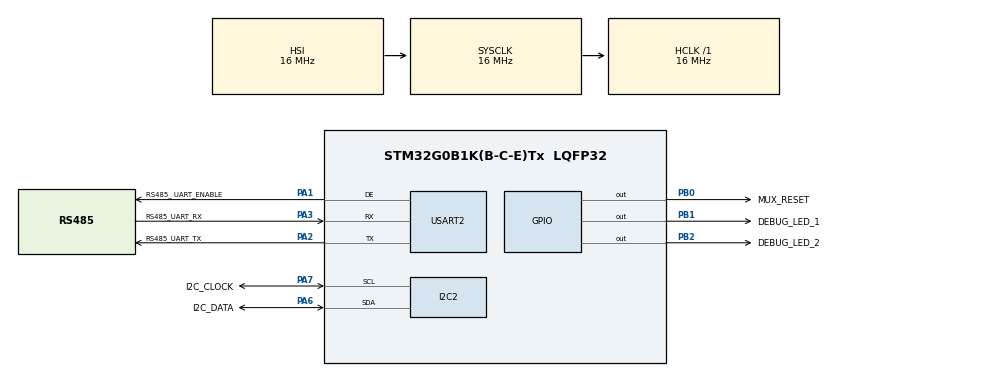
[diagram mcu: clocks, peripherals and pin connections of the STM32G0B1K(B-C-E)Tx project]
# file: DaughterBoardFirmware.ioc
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I2C2.Timing=0x00503D58
Mcu.Family=STM32G0
Mcu.Name=STM32G0B1K(B-C-E)Tx
Mcu.Package=LQFP32
NVIC.USART2_LPUART2_IRQn=true\:0\:0\:false\:false\:true\:true\:true\:true
PA1.GPIO_Label=RS485_ UART_ENABLE
PA1.Mode=Hardware Flow Control (RS485)
PA1.Signal=USART2_DE
PA13.Mode=Serial_Wire
PA13.Signal=SYS_SWDIO
PA14-BOOT0.Mode=Serial_Wire
PA14-BOOT0.Signal=SYS_SWCLK
PA2.GPIO_Label=RS485_UART_TX
PA2.Mode=Asynchronous
PA2.Signal=USART2_TX
PA3.GPIO_Label=RS485_UART_RX
PA3.Mode=Asynchronous
PA3.Signal=USART2_RX
PA6.GPIO_Label=I2C_DATA
PA6.Mode=I2C
PA6.Signal=I2C2_SDA
PA7.GPIO_Label=I2C_CLOCK
PA7.Mode=I2C
PA7.Signal=I2C2_SCL
PB0.GPIO_Label=MUX_RESET
PB0.PinState=GPIO_PIN_SET
PB0.Signal=GPIO_Output
PB1.GPIO_Label=DEBUG_LED_1
PB1.Signal=GPIO_Output
PB2.GPIO_Label=DEBUG_LED_2
PB2.Signal=GPIO_Output
ProjectManager.HeapSize=0x200
ProjectManager.StackSize=0x400
ProjectManager.TargetToolchain=CMake
RCC.AHBFreq_Value=16000000
RCC.CortexFreq_Value=16000000
RCC.EXTERNAL_CLOCK_VALUE=48000
RCC.HCLKFreq_Value=16000000
RCC.HSE_VALUE=8000000
RCC.HSI48_VALUE=48000000
RCC.HSI_VALUE=16000000
RCC.LSE_VALUE=32768
RCC.SYSCLKFreq_VALUE=16000000
RCC.USBFreq_Value=48000000
RCC.VCOOutputFreq_Value=128000000
USART2.VirtualMode-Asynchronous=VM_ASYNC
USART2.VirtualMode-Hardware\ Flow\ Control\ (RS485)=VM_ASYNC
VP_SYS_VS_DBSignals.Mode=DisableDeadBatterySignals
board=custom

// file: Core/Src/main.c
/* USER CODE BEGIN Header */
/**
  ******************************************************************************
  * @file           : main.c
  * @brief          : Main program body
  ******************************************************************************
  * @attention
  *
  * Copyright (c) 2026 STMicroelectronics.
  * All rights reserved.
  *
  * This software is licensed under terms that can be found in the LICENSE file
  * in the root directory of this software component.
  * If no LICENSE file comes with this software, it is provided AS-IS.
  *
  ******************************************************************************
  */
/* USER CODE END Header */
#include <stdbool.h>
#include <stdint.h>
#include "main.h"

/* USER CODE BEGIN Includes */
#include "Mux.h"
#include "RS485Parser.h"
/* USER CODE END Includes */

I2C_HandleTypeDef hi2c2;

UART_HandleTypeDef huart2;

/* USER CODE BEGIN PV */
RS485Parser parser;

static uint8_t uartRxByte;
static uint8_t rxBuffer[RX_BUFFER_SIZE];

static volatile uint8_t rxWriteIndex;
static volatile uint8_t rxReadIndex;
static volatile uint32_t rxDroppedBytes;

/* USER CODE END PV */

void SystemClock_Config(void);
static void MX_GPIO_Init(void);
static void MX_I2C2_Init(void);
static void MX_USART2_UART_Init(void);
/* USER CODE BEGIN PFP */
static void HandleRS485Packet(const RS485Packet *packet);

/* USER CODE END PFP */

/* USER CODE BEGIN 0 */
/* Integration point: add sensor command dispatch here. No sensor operations
 * or replies are performed until the board's sensor mapping is defined. */
static void HandleRS485Packet(const RS485Packet *packet)
{

  switch (packet->command){
    case RS485_READ:

    break;
    case RS485_RESET_START:

    break;
    case RS485_RESET_CONTINUE:

    break;
    case RS485_RESET_END:

    break;
    case RS485_REBOOT:

    break;
    case RS485_FAILURE:

    break;
  }
}

/* USER CODE END 0 */

int main(void)
{

  /* MCU Configuration--------------------------------------------------------*/

  /* Reset of all peripherals, Initializes the Flash interface and the Systick. */
  HAL_Init();

  /* Configure the system clock */
  SystemClock_Config();

  /* Initialize all configured peripherals */
  MX_GPIO_Init();
  MX_I2C2_Init();
  MX_USART2_UART_Init();
  /* USER CODE BEGIN 2 */

  initRS485Parser(&parser);

  // MUX
  if (MuxInit(&hi2c2) != HAL_OK) {
    Error_Handler();
  }

  // RS485 TRANSCIEVER
  if (HAL_RS485Ex_Init(&huart2, UART_DE_POLARITY_HIGH, 0, 0) != HAL_OK) {
    Error_Handler();
  }

  if (HAL_UART_Receive_IT(&huart2, &uartRxByte, 1) != HAL_OK) {
    Error_Handler();
  }

  /* USER CODE END 2 */

  /* Infinite loop */
  while (1)
  {
    /* USER CODE BEGIN 3 */
    /* A dropped byte invalidates both the partial frame and queued bytes. */
    static uint32_t handledDroppedBytes;
    if (handledDroppedBytes != rxDroppedBytes) {
      __disable_irq();
      rxReadIndex = rxWriteIndex;
      handledDroppedBytes = rxDroppedBytes;
      __enable_irq();
      resetRS485Parser(&parser);
      parser.state = PARSER_DISCARD;
    }

    while (rxReadIndex != rxWriteIndex) {
      uint8_t byte = rxBuffer[rxReadIndex];
      rxReadIndex = (uint8_t)((rxReadIndex + 1U) % RX_BUFFER_SIZE);
      timeoutRS485Parser(&parser, HAL_GetTick());
      if (feedRS485Parser(&parser, byte)) {
        HandleRS485Packet(&parser.packet);
      }
      parser.lastByteTime = HAL_GetTick();
    }
    timeoutRS485Parser(&parser, HAL_GetTick());
  }
  /* USER CODE END 3 */
}

void SystemClock_Config(void)
{
  RCC_OscInitTypeDef RCC_OscInitStruct = {0};
  RCC_ClkInitTypeDef RCC_ClkInitStruct = {0};

  /** Configure the main internal regulator output voltage
  */
  HAL_PWREx_ControlVoltageScaling(PWR_REGULATOR_VOLTAGE_SCALE1);

  /** Initializes the RCC Oscillators according to the specified parameters
  * in the RCC_OscInitTypeDef structure.
  */
  RCC_OscInitStruct.OscillatorType = RCC_OSCILLATORTYPE_HSI;
  RCC_OscInitStruct.HSIState = RCC_HSI_ON;
  RCC_OscInitStruct.HSIDiv = RCC_HSI_DIV1;
  RCC_OscInitStruct.HSICalibrationValue = RCC_HSICALIBRATION_DEFAULT;
  RCC_OscInitStruct.PLL.PLLState = RCC_PLL_NONE;
  if (HAL_RCC_OscConfig(&RCC_OscInitStruct) != HAL_OK)
  {
    Error_Handler();
  }

  /** Initializes the CPU, AHB and APB buses clocks
  */
  RCC_ClkInitStruct.ClockType = RCC_CLOCKTYPE_HCLK|RCC_CLOCKTYPE_SYSCLK
                              |RCC_CLOCKTYPE_PCLK1;
  RCC_ClkInitStruct.SYSCLKSource = RCC_SYSCLKSOURCE_HSI;
  RCC_ClkInitStruct.AHBCLKDivider = RCC_SYSCLK_DIV1;
  RCC_ClkInitStruct.APB1CLKDivider = RCC_HCLK_DIV1;

  if (HAL_RCC_ClockConfig(&RCC_ClkInitStruct, FLASH_LATENCY_0) != HAL_OK)
  {
    Error_Handler();
  }
}

static void MX_I2C2_Init(void)
{

  hi2c2.Instance = I2C2;
  hi2c2.Init.Timing = 0x00503D58;
  hi2c2.Init.OwnAddress1 = 0;
  hi2c2.Init.AddressingMode = I2C_ADDRESSINGMODE_7BIT;
  hi2c2.Init.DualAddressMode = I2C_DUALADDRESS_DISABLE;
  hi2c2.Init.OwnAddress2 = 0;
  hi2c2.Init.OwnAddress2Masks = I2C_OA2_NOMASK;
  hi2c2.Init.GeneralCallMode = I2C_GENERALCALL_DISABLE;
  hi2c2.Init.NoStretchMode = I2C_NOSTRETCH_DISABLE;
  if (HAL_I2C_Init(&hi2c2) != HAL_OK)
  {
    Error_Handler();
  }

  /** Configure Analogue filter
  */
  if (HAL_I2CEx_ConfigAnalogFilter(&hi2c2, I2C_ANALOGFILTER_ENABLE) != HAL_OK)
  {
    Error_Handler();
  }

  /** Configure Digital filter
  */
  if (HAL_I2CEx_ConfigDigitalFilter(&hi2c2, 0) != HAL_OK)
  {
    Error_Handler();
  }

}

static void MX_USART2_UART_Init(void)
{

  huart2.Instance = USART2;
  huart2.Init.BaudRate = 115200;
  huart2.Init.WordLength = UART_WORDLENGTH_8B;
  huart2.Init.StopBits = UART_STOPBITS_1;
  huart2.Init.Parity = UART_PARITY_NONE;
  huart2.Init.Mode = UART_MODE_TX_RX;
  huart2.Init.HwFlowCtl = UART_HWCONTROL_NONE;
  huart2.Init.OverSampling = UART_OVERSAMPLING_16;
  huart2.Init.OneBitSampling = UART_ONE_BIT_SAMPLE_DISABLE;
  huart2.Init.ClockPrescaler = UART_PRESCALER_DIV1;
  huart2.AdvancedInit.AdvFeatureInit = UART_ADVFEATURE_NO_INIT;
  if (HAL_RS485Ex_Init(&huart2, UART_DE_POLARITY_HIGH, 0, 0) != HAL_OK)
  {
    Error_Handler();
  }
  if (HAL_UARTEx_SetTxFifoThreshold(&huart2, UART_TXFIFO_THRESHOLD_1_8) != HAL_OK)
  {
    Error_Handler();
  }
  if (HAL_UARTEx_SetRxFifoThreshold(&huart2, UART_RXFIFO_THRESHOLD_1_8) != HAL_OK)
  {
    Error_Handler();
  }
  if (HAL_UARTEx_DisableFifoMode(&huart2) != HAL_OK)
  {
    Error_Handler();
  }

}

static void MX_GPIO_Init(void)
{
  GPIO_InitTypeDef GPIO_InitStruct = {0};

  /* GPIO Ports Clock Enable */
  __HAL_RCC_GPIOA_CLK_ENABLE();
  __HAL_RCC_GPIOB_CLK_ENABLE();

  /*Configure GPIO pin Output Level */
  HAL_GPIO_WritePin(MUX_RESET_GPIO_Port, MUX_RESET_Pin, GPIO_PIN_SET);

  /*Configure GPIO pin Output Level */
  HAL_GPIO_WritePin(GPIOB, DEBUG_LED_1_Pin|DEBUG_LED_2_Pin, GPIO_PIN_RESET);

  /*Configure GPIO pins : MUX_RESET_Pin DEBUG_LED_1_Pin DEBUG_LED_2_Pin */
  GPIO_InitStruct.Pin = MUX_RESET_Pin|DEBUG_LED_1_Pin|DEBUG_LED_2_Pin;
  GPIO_InitStruct.Mode = GPIO_MODE_OUTPUT_PP;
  GPIO_InitStruct.Pull = GPIO_NOPULL;
  GPIO_InitStruct.Speed = GPIO_SPEED_FREQ_LOW;
  HAL_GPIO_Init(GPIOB, &GPIO_InitStruct);

}

/* USER CODE BEGIN 4 */
void HAL_UART_RxCpltCallback(UART_HandleTypeDef *huart) {
  if (huart->Instance != USART2) {
    return;
  }

  uint16_t nextIndex = (uint16_t)((rxWriteIndex + 1U) % RX_BUFFER_SIZE);

  if (nextIndex != rxReadIndex) {
    rxBuffer[rxWriteIndex] = uartRxByte;
    rxWriteIndex = nextIndex;
  } else {
    rxDroppedBytes++;
  }

  if (HAL_UART_Receive_IT(&huart2, &uartRxByte, 1) != HAL_OK) {
    Error_Handler();
  }
}
/* USER CODE END 4 */

void Error_Handler(void)
{
  __disable_irq();
  while (1)
  {
  }
}
